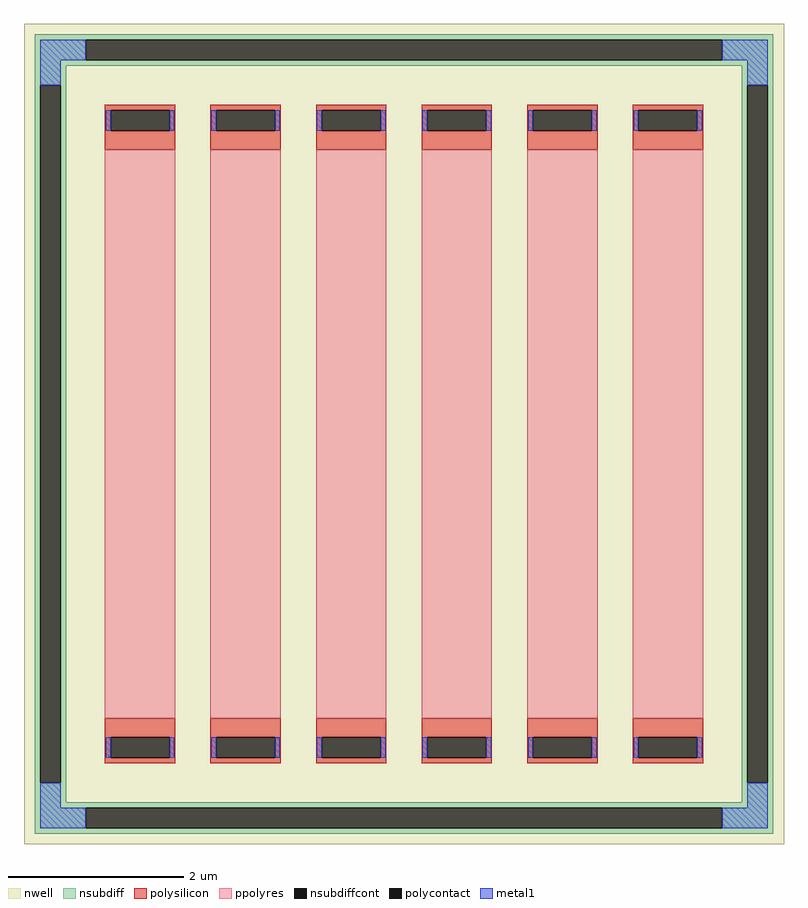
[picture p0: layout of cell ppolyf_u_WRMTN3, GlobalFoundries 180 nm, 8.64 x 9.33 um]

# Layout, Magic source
magic
tech gf180mcuC
magscale 1 10
<< nwell >>
rect -864 -933 864 933
<< nsubdiff >>
rect -840 896 840 909
rect -840 850 -724 896
rect 724 850 840 896
rect -840 837 840 850
rect -840 793 -768 837
rect -840 -793 -827 793
rect -781 -793 -768 793
rect 768 793 840 837
rect -840 -837 -768 -793
rect 768 -793 781 793
rect 827 -793 840 793
rect 768 -837 840 -793
rect -840 -850 840 -837
rect -840 -896 -724 -850
rect 724 -896 840 -850
rect -840 -909 840 -896
<< nsubdiffcont >>
rect -724 850 724 896
rect -827 -793 -781 793
rect 781 -793 827 793
rect -724 -896 724 -850
<< polysilicon >>
rect -680 736 -520 749
rect -680 690 -667 736
rect -533 690 -520 736
rect -680 646 -520 690
rect -680 -690 -520 -646
rect -680 -736 -667 -690
rect -533 -736 -520 -690
rect -680 -749 -520 -736
rect -440 736 -280 749
rect -440 690 -427 736
rect -293 690 -280 736
rect -440 646 -280 690
rect -440 -690 -280 -646
rect -440 -736 -427 -690
rect -293 -736 -280 -690
rect -440 -749 -280 -736
rect -200 736 -40 749
rect -200 690 -187 736
rect -53 690 -40 736
rect -200 646 -40 690
rect -200 -690 -40 -646
rect -200 -736 -187 -690
rect -53 -736 -40 -690
rect -200 -749 -40 -736
rect 40 736 200 749
rect 40 690 53 736
rect 187 690 200 736
rect 40 646 200 690
rect 40 -690 200 -646
rect 40 -736 53 -690
rect 187 -736 200 -690
rect 40 -749 200 -736
rect 280 736 440 749
rect 280 690 293 736
rect 427 690 440 736
rect 280 646 440 690
rect 280 -690 440 -646
rect 280 -736 293 -690
rect 427 -736 440 -690
rect 280 -749 440 -736
rect 520 736 680 749
rect 520 690 533 736
rect 667 690 680 736
rect 520 646 680 690
rect 520 -690 680 -646
rect 520 -736 533 -690
rect 667 -736 680 -690
rect 520 -749 680 -736
<< polycontact >>
rect -667 690 -533 736
rect -667 -736 -533 -690
rect -427 690 -293 736
rect -427 -736 -293 -690
rect -187 690 -53 736
rect -187 -736 -53 -690
rect 53 690 187 736
rect 53 -736 187 -690
rect 293 690 427 736
rect 293 -736 427 -690
rect 533 690 667 736
rect 533 -736 667 -690
<< ppolyres >>
rect -680 -646 -520 646
rect -440 -646 -280 646
rect -200 -646 -40 646
rect 40 -646 200 646
rect 280 -646 440 646
rect 520 -646 680 646
<< metal1 >>
rect -827 850 -724 896
rect 724 850 827 896
rect -827 793 -781 850
rect 781 793 827 850
rect -678 690 -667 736
rect -533 690 -522 736
rect -438 690 -427 736
rect -293 690 -282 736
rect -198 690 -187 736
rect -53 690 -42 736
rect 42 690 53 736
rect 187 690 198 736
rect 282 690 293 736
rect 427 690 438 736
rect 522 690 533 736
rect 667 690 678 736
rect -678 -736 -667 -690
rect -533 -736 -522 -690
rect -438 -736 -427 -690
rect -293 -736 -282 -690
rect -198 -736 -187 -690
rect -53 -736 -42 -690
rect 42 -736 53 -690
rect 187 -736 198 -690
rect 282 -736 293 -690
rect 427 -736 438 -690
rect 522 -736 533 -690
rect 667 -736 678 -690
rect -827 -850 -781 -793
rect 781 -850 827 -793
rect -827 -896 -724 -850
rect 724 -896 827 -850
<< properties >>
string FIXED_BBOX -804 -873 804 873
string gencell ppolyf_u
string library gf180mcu
string parameters w 0.8 l 6.459 m 1 nx 6 wmin 0.80 lmin 1.00 rho 315 val 2.787k dummy 0 dw 0.07 term 0.0 sterm 0.0 caplen 0.4 snake 0 glc 1 grc 1 gtc 1 gbc 1 roverlap 0 endcov 100 full_metal 1
<< end >>
